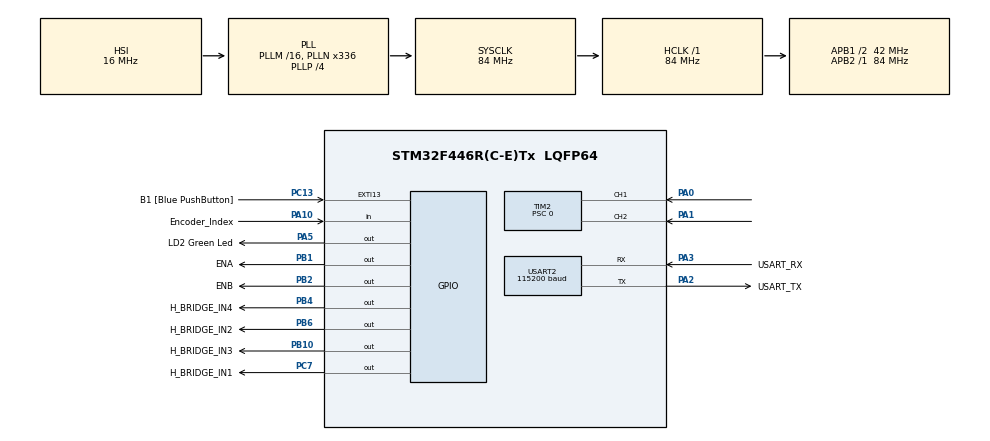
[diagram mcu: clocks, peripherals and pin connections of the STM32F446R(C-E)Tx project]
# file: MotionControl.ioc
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Mcu.Family=STM32F4
Mcu.Name=STM32F446R(C-E)Tx
Mcu.Package=LQFP64
NVIC.EXTI15_10_IRQn=true\:0\:0\:false\:true\:true\:5\:false\:true\:true\:true
NVIC.PriorityGroup=NVIC_PRIORITYGROUP_4
NVIC.TIM1_TRG_COM_TIM11_IRQn=true\:0\:0\:false\:true\:true\:4\:false\:true\:true\:true
NVIC.TIM1_UP_TIM10_IRQn=true\:0\:0\:false\:true\:true\:3\:false\:true\:true\:true
NVIC.TIM3_IRQn=true\:0\:0\:false\:false\:true\:false\:true\:true\:true
NVIC.TIM6_DAC_IRQn=true\:15\:0\:false\:false\:true\:false\:false\:true\:true
NVIC.TIM7_IRQn=true\:0\:0\:false\:true\:true\:6\:false\:true\:true\:true
NVIC.TimeBase=TIM6_DAC_IRQn
NVIC.TimeBaseIP=TIM6
PA0-WKUP.Signal=S_TIM2_CH1_ETR
PA1.Signal=S_TIM2_CH2
PA10.GPIO_Label=Encoder_Index
PA10.Signal=GPIO_Input
PA13.GPIO_Label=TMS
PA13.Mode=Serial_Wire
PA13.Signal=SYS_JTMS-SWDIO
PA14.GPIO_Label=TCK
PA14.Mode=Serial_Wire
PA14.Signal=SYS_JTCK-SWCLK
PA2.GPIO_Label=USART_TX
PA2.Mode=Asynchronous
PA2.Signal=USART2_TX
PA3.GPIO_Label=USART_RX
PA3.Mode=Asynchronous
PA3.Signal=USART2_RX
PA5.GPIO_Label=LD2 Green Led
PA5.Signal=GPIO_Output
PB1.GPIO_Label=ENA
PB1.GPIO_PuPd=GPIO_NOPULL
PB1.Signal=GPIO_Output
PB10.GPIO_Label=H_BRIDGE_IN3
PB10.Signal=GPIO_Output
PB2.GPIO_Label=ENB
PB2.Signal=GPIO_Output
PB3.GPIO_Label=SWO
PB3.Signal=SYS_JTDO-SWO
PB4.GPIO_Label=H_BRIDGE_IN4
PB4.Signal=GPIO_Output
PB6.GPIO_Label=H_BRIDGE_IN2
PB6.Signal=GPIO_Output
PC13.GPIO_Label=B1 [Blue PushButton]
PC13.GPIO_ModeDefaultEXTI=GPIO_MODE_IT_FALLING
PC13.Signal=GPXTI13
PC14-OSC32_IN.Mode=LSE-External-Oscillator
PC14-OSC32_IN.Signal=RCC_OSC32_IN
PC15-OSC32_OUT.Mode=LSE-External-Oscillator
PC15-OSC32_OUT.Signal=RCC_OSC32_OUT
PC7.GPIO_Label=H_BRIDGE_IN1
PC7.Signal=GPIO_Output
PH0-OSC_IN.Mode=HSE-External-Oscillator
PH0-OSC_IN.Signal=RCC_OSC_IN
PH1-OSC_OUT.Mode=HSE-External-Oscillator
PH1-OSC_OUT.Signal=RCC_OSC_OUT
ProjectManager.HeapSize=0x200
ProjectManager.StackSize=0x400
ProjectManager.TargetToolchain=STM32CubeIDE
RCC.48MHZClocksFreq_Value=84000000
RCC.AHBFreq_Value=84000000
RCC.APB1CLKDivider=RCC_HCLK_DIV2
RCC.APB1Freq_Value=42000000
RCC.APB1TimFreq_Value=84000000
RCC.APB2Freq_Value=84000000
RCC.APB2TimFreq_Value=84000000
RCC.CortexFreq_Value=84000000
RCC.FLatency-AdvancedSettings=FLASH_LATENCY_2
RCC.HCLKFreq_Value=84000000
RCC.HSE_VALUE=8000000
RCC.HSI_VALUE=16000000
RCC.PLLN=336
RCC.PLLP=RCC_PLLP_DIV4
RCC.SYSCLKFreq_VALUE=84000000
RCC.SYSCLKSource=RCC_SYSCLKSOURCE_PLLCLK
RCC.USBFreq_Value=168000000
RCC.VCOOutputFreq_Value=336000000
SH.S_TIM2_CH1_ETR.0=TIM2_CH1,Encoder_Interface
SH.S_TIM2_CH2.0=TIM2_CH2,Encoder_Interface
STMicroelectronics.X-CUBE-AZRTOS-F4.1.1.0.AZRTOS_APP_MEM_ALLOCATION_METHOD=1
STMicroelectronics.X-CUBE-AZRTOS-F4.1.1.0.TX_ENABLE_EVENT_TRACE=1
STMicroelectronics.X-CUBE-AZRTOS-F4.1.1.0.TX_TIMER_TICKS_PER_SECOND=60000
STMicroelectronics.X-CUBE-AZRTOS-F4.1.1.0.ThreadXCcRTOSJjThreadXJjCore=true
STMicroelectronics.X-CUBE-AZRTOS-F4.1.1.0.ThreadXCcRTOSJjThreadXJjTraceXOosupport=true
STMicroelectronics.X-CUBE-AZRTOS-F4.1.1.0_IsAnAzureRtosMw=true
TIM10.AutoReloadPreload=TIM_AUTORELOAD_PRELOAD_ENABLE
TIM10.Period=839
TIM10.Prescaler=500
TIM11.AutoReloadPreload=TIM_AUTORELOAD_PRELOAD_ENABLE
TIM11.ClockDivision=TIM_CLOCKDIVISION_DIV1
TIM11.Period=83
TIM11.Prescaler=1000
TIM2.AutoReloadPreload=TIM_AUTORELOAD_PRELOAD_ENABLE
TIM2.EncoderMode=TIM_ENCODERMODE_TI12
TIM2.IC1Filter=0
TIM2.IC2Filter=0
TIM2.Period=8191
TIM2.Prescaler=0
TIM3.AutoReloadPreload=TIM_AUTORELOAD_PRELOAD_ENABLE
TIM3.Period=1
TIM3.Prescaler=209
TIM7.AutoReloadPreload=TIM_AUTORELOAD_PRELOAD_ENABLE
TIM7.Period=2099
TIM7.Prescaler=1
TIM7.TIM_MasterOutputTrigger=TIM_TRGO_RESET
USART2.BaudRate=115200
USART2.VirtualMode=VM_ASYNC
VP_STMicroelectronics.X-CUBE-AZRTOS-F4_VS_RTOSJjThreadX_6.1.10_1.1.0.Mode=RTOSJjThreadX
VP_SYS_VS_tim6.Mode=TIM6
VP_TIM10_VS_ClockSourceINT.Mode=Enable_Timer
VP_TIM11_VS_ClockSourceINT.Mode=Enable_Timer
VP_TIM3_VS_ClockSourceINT.Mode=Internal
VP_TIM7_VS_ClockSourceINT.Mode=Enable_Timer
board=NUCLEO-F446RE

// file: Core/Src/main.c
/* USER CODE BEGIN Header */
/**
  ******************************************************************************
  * @file           : main.c
  * @brief          : Main program body
  ******************************************************************************
  * @attention
  *
  * Copyright (c) 2023 STMicroelectronics.
  * All rights reserved.
  *
  * This software is licensed under terms that can be found in the LICENSE file
  * in the root directory of this software component.
  * If no LICENSE file comes with this software, it is provided AS-IS.
  *
  ******************************************************************************
  */
/* USER CODE END Header */
#include "app_threadx.h"
#include "main.h"

/* USER CODE BEGIN Includes */
#include <stdbool.h>
/* USER CODE END Includes */

TIM_HandleTypeDef htim2;
TIM_HandleTypeDef htim3;
TIM_HandleTypeDef htim7;
TIM_HandleTypeDef htim10;
TIM_HandleTypeDef htim11;

UART_HandleTypeDef huart2;

/* USER CODE BEGIN PV */
uint8_t HEADER1[35] = {'\0'};
uint8_t HEADER4[16] = {'\0'};
bool TickMotion = false;
bool TickSerial = false;
bool TickDiag = false;
uint32_t CounterDiagSerialOld = 0;
uint32_t CounterSpeed = 0;
uint32_t TM2_Currentvalue;

/* USER CODE END PV */

void SystemClock_Config(void);
static void MX_GPIO_Init(void);
static void MX_USART2_UART_Init(void);
static void MX_TIM7_Init(void);
static void MX_TIM10_Init(void);
static void MX_TIM11_Init(void);
static void MX_TIM2_Init(void);
static void MX_TIM3_Init(void);
static void MX_NVIC_Init(void);

int main(void)
{

  /* MCU Configuration--------------------------------------------------------*/

  /* Reset of all peripherals, Initializes the Flash interface and the Systick. */
  HAL_Init();

  /* Configure the system clock */
  SystemClock_Config();

  /* Initialize all configured peripherals */
  MX_GPIO_Init();
  MX_USART2_UART_Init();
  MX_TIM7_Init();
  MX_TIM10_Init();
  MX_TIM11_Init();
  MX_TIM2_Init();
  MX_TIM3_Init();

  /* Initialize interrupts */
  MX_NVIC_Init();
  /* USER CODE BEGIN 2 */
  sprintf(HEADER1, "Initialized Serial Comunication \n");
  HAL_UART_Transmit(&huart2, HEADER1, sizeof(HEADER1), 100);
  /* USER CODE END 2 */

  MX_ThreadX_Init();

  /* We should never get here as control is now taken by the scheduler */
  /* Infinite loop */
  while (1)
  {

  }
}

void SystemClock_Config(void)
{
  RCC_OscInitTypeDef RCC_OscInitStruct = {0};
  RCC_ClkInitTypeDef RCC_ClkInitStruct = {0};

  /** Configure the main internal regulator output voltage
  */
  __HAL_RCC_PWR_CLK_ENABLE();
  __HAL_PWR_VOLTAGESCALING_CONFIG(PWR_REGULATOR_VOLTAGE_SCALE3);

  /** Initializes the RCC Oscillators according to the specified parameters
  * in the RCC_OscInitTypeDef structure.
  */
  RCC_OscInitStruct.OscillatorType = RCC_OSCILLATORTYPE_HSI;
  RCC_OscInitStruct.HSIState = RCC_HSI_ON;
  RCC_OscInitStruct.HSICalibrationValue = RCC_HSICALIBRATION_DEFAULT;
  RCC_OscInitStruct.PLL.PLLState = RCC_PLL_ON;
  RCC_OscInitStruct.PLL.PLLSource = RCC_PLLSOURCE_HSI;
  RCC_OscInitStruct.PLL.PLLM = 16;
  RCC_OscInitStruct.PLL.PLLN = 336;
  RCC_OscInitStruct.PLL.PLLP = RCC_PLLP_DIV4;
  RCC_OscInitStruct.PLL.PLLQ = 2;
  RCC_OscInitStruct.PLL.PLLR = 2;
  if (HAL_RCC_OscConfig(&RCC_OscInitStruct) != HAL_OK)
  {
    Error_Handler();
  }

  /** Initializes the CPU, AHB and APB buses clocks
  */
  RCC_ClkInitStruct.ClockType = RCC_CLOCKTYPE_HCLK|RCC_CLOCKTYPE_SYSCLK
                              |RCC_CLOCKTYPE_PCLK1|RCC_CLOCKTYPE_PCLK2;
  RCC_ClkInitStruct.SYSCLKSource = RCC_SYSCLKSOURCE_PLLCLK;
  RCC_ClkInitStruct.AHBCLKDivider = RCC_SYSCLK_DIV1;
  RCC_ClkInitStruct.APB1CLKDivider = RCC_HCLK_DIV2;
  RCC_ClkInitStruct.APB2CLKDivider = RCC_HCLK_DIV1;

  if (HAL_RCC_ClockConfig(&RCC_ClkInitStruct, FLASH_LATENCY_2) != HAL_OK)
  {
    Error_Handler();
  }
}

/**
  * @brief NVIC Configuration.
  * @retval None
  */
static void MX_NVIC_Init(void)
{
  /* TIM1_UP_TIM10_IRQn interrupt configuration */
  HAL_NVIC_SetPriority(TIM1_UP_TIM10_IRQn, 0, 0);
  HAL_NVIC_EnableIRQ(TIM1_UP_TIM10_IRQn);
  /* TIM1_TRG_COM_TIM11_IRQn interrupt configuration */
  HAL_NVIC_SetPriority(TIM1_TRG_COM_TIM11_IRQn, 0, 0);
  HAL_NVIC_EnableIRQ(TIM1_TRG_COM_TIM11_IRQn);
  /* EXTI15_10_IRQn interrupt configuration */
  HAL_NVIC_SetPriority(EXTI15_10_IRQn, 0, 0);
  HAL_NVIC_EnableIRQ(EXTI15_10_IRQn);
  /* TIM7_IRQn interrupt configuration */
  HAL_NVIC_SetPriority(TIM7_IRQn, 0, 0);
  HAL_NVIC_EnableIRQ(TIM7_IRQn);
}

static void MX_TIM2_Init(void)
{

  TIM_Encoder_InitTypeDef sConfig = {0};
  TIM_MasterConfigTypeDef sMasterConfig = {0};

  htim2.Instance = TIM2;
  htim2.Init.Prescaler = 0;
  htim2.Init.CounterMode = TIM_COUNTERMODE_UP;
  htim2.Init.Period = 8191;
  htim2.Init.ClockDivision = TIM_CLOCKDIVISION_DIV1;
  htim2.Init.AutoReloadPreload = TIM_AUTORELOAD_PRELOAD_ENABLE;
  sConfig.EncoderMode = TIM_ENCODERMODE_TI12;
  sConfig.IC1Polarity = TIM_ICPOLARITY_RISING;
  sConfig.IC1Selection = TIM_ICSELECTION_DIRECTTI;
  sConfig.IC1Prescaler = TIM_ICPSC_DIV1;
  sConfig.IC1Filter = 0;
  sConfig.IC2Polarity = TIM_ICPOLARITY_RISING;
  sConfig.IC2Selection = TIM_ICSELECTION_DIRECTTI;
  sConfig.IC2Prescaler = TIM_ICPSC_DIV1;
  sConfig.IC2Filter = 0;
  if (HAL_TIM_Encoder_Init(&htim2, &sConfig) != HAL_OK)
  {
    Error_Handler();
  }
  sMasterConfig.MasterOutputTrigger = TIM_TRGO_RESET;
  sMasterConfig.MasterSlaveMode = TIM_MASTERSLAVEMODE_DISABLE;
  if (HAL_TIMEx_MasterConfigSynchronization(&htim2, &sMasterConfig) != HAL_OK)
  {
    Error_Handler();
  }
  /* USER CODE BEGIN TIM2_Init 2 */
  HAL_TIM_Encoder_Start(&htim2, TIM_CHANNEL_ALL);
  /* USER CODE END TIM2_Init 2 */

}

static void MX_TIM3_Init(void)
{

  TIM_ClockConfigTypeDef sClockSourceConfig = {0};
  TIM_MasterConfigTypeDef sMasterConfig = {0};

  htim3.Instance = TIM3;
  htim3.Init.Prescaler = 209;
  htim3.Init.CounterMode = TIM_COUNTERMODE_UP;
  htim3.Init.Period = 1;
  htim3.Init.ClockDivision = TIM_CLOCKDIVISION_DIV1;
  htim3.Init.AutoReloadPreload = TIM_AUTORELOAD_PRELOAD_ENABLE;
  if (HAL_TIM_Base_Init(&htim3) != HAL_OK)
  {
    Error_Handler();
  }
  sClockSourceConfig.ClockSource = TIM_CLOCKSOURCE_INTERNAL;
  if (HAL_TIM_ConfigClockSource(&htim3, &sClockSourceConfig) != HAL_OK)
  {
    Error_Handler();
  }
  sMasterConfig.MasterOutputTrigger = TIM_TRGO_RESET;
  sMasterConfig.MasterSlaveMode = TIM_MASTERSLAVEMODE_DISABLE;
  if (HAL_TIMEx_MasterConfigSynchronization(&htim3, &sMasterConfig) != HAL_OK)
  {
    Error_Handler();
  }
  /* USER CODE BEGIN TIM3_Init 2 */
  HAL_TIM_Base_Start_IT(&htim3); // Start Timer
  /* USER CODE END TIM3_Init 2 */

}

static void MX_TIM7_Init(void)
{

  TIM_MasterConfigTypeDef sMasterConfig = {0};

  htim7.Instance = TIM7;
  htim7.Init.Prescaler = 1;
  htim7.Init.CounterMode = TIM_COUNTERMODE_UP;
  htim7.Init.Period = 2099;
  htim7.Init.AutoReloadPreload = TIM_AUTORELOAD_PRELOAD_ENABLE;
  if (HAL_TIM_Base_Init(&htim7) != HAL_OK)
  {
    Error_Handler();
  }
  sMasterConfig.MasterOutputTrigger = TIM_TRGO_RESET;
  sMasterConfig.MasterSlaveMode = TIM_MASTERSLAVEMODE_DISABLE;
  if (HAL_TIMEx_MasterConfigSynchronization(&htim7, &sMasterConfig) != HAL_OK)
  {
    Error_Handler();
  }
  /* USER CODE BEGIN TIM7_Init 2 */
  HAL_TIM_Base_Start_IT(&htim7); // Start Timer
  /* USER CODE END TIM7_Init 2 */

}

static void MX_TIM10_Init(void)
{

  htim10.Instance = TIM10;
  htim10.Init.Prescaler = 500;
  htim10.Init.CounterMode = TIM_COUNTERMODE_UP;
  htim10.Init.Period = 839;
  htim10.Init.ClockDivision = TIM_CLOCKDIVISION_DIV1;
  htim10.Init.AutoReloadPreload = TIM_AUTORELOAD_PRELOAD_ENABLE;
  if (HAL_TIM_Base_Init(&htim10) != HAL_OK)
  {
    Error_Handler();
  }
  /* USER CODE BEGIN TIM10_Init 2 */
  HAL_TIM_Base_Start_IT(&htim10); // Start Timer
  /* USER CODE END TIM10_Init 2 */

}

static void MX_TIM11_Init(void)
{

  htim11.Instance = TIM11;
  htim11.Init.Prescaler = 1000;
  htim11.Init.CounterMode = TIM_COUNTERMODE_UP;
  htim11.Init.Period = 83;
  htim11.Init.ClockDivision = TIM_CLOCKDIVISION_DIV1;
  htim11.Init.AutoReloadPreload = TIM_AUTORELOAD_PRELOAD_ENABLE;
  if (HAL_TIM_Base_Init(&htim11) != HAL_OK)
  {
    Error_Handler();
  }
  /* USER CODE BEGIN TIM11_Init 2 */
  HAL_TIM_Base_Start_IT(&htim11); // Start Timer
  /* USER CODE END TIM11_Init 2 */

}

static void MX_USART2_UART_Init(void)
{

  huart2.Instance = USART2;
  huart2.Init.BaudRate = 115200;
  huart2.Init.WordLength = UART_WORDLENGTH_8B;
  huart2.Init.StopBits = UART_STOPBITS_1;
  huart2.Init.Parity = UART_PARITY_NONE;
  huart2.Init.Mode = UART_MODE_TX_RX;
  huart2.Init.HwFlowCtl = UART_HWCONTROL_NONE;
  huart2.Init.OverSampling = UART_OVERSAMPLING_16;
  if (HAL_UART_Init(&huart2) != HAL_OK)
  {
    Error_Handler();
  }

}

static void MX_GPIO_Init(void)
{
  GPIO_InitTypeDef GPIO_InitStruct = {0};

  /* GPIO Ports Clock Enable */
  __HAL_RCC_GPIOC_CLK_ENABLE();
  __HAL_RCC_GPIOH_CLK_ENABLE();
  __HAL_RCC_GPIOA_CLK_ENABLE();
  __HAL_RCC_GPIOB_CLK_ENABLE();

  /*Configure GPIO pin Output Level */
  HAL_GPIO_WritePin(LD2_Green_Led_GPIO_Port, LD2_Green_Led_Pin, GPIO_PIN_RESET);

  /*Configure GPIO pin Output Level */
  HAL_GPIO_WritePin(GPIOB, ENA_Pin|ENB_Pin|H_BRIDGE_IN3_Pin|H_BRIDGE_IN4_Pin
                          |H_BRIDGE_IN2_Pin, GPIO_PIN_RESET);

  /*Configure GPIO pin Output Level */
  HAL_GPIO_WritePin(H_BRIDGE_IN1_GPIO_Port, H_BRIDGE_IN1_Pin, GPIO_PIN_RESET);

  /*Configure GPIO pin : B1_Pin */
  GPIO_InitStruct.Pin = B1_Pin;
  GPIO_InitStruct.Mode = GPIO_MODE_IT_FALLING;
  GPIO_InitStruct.Pull = GPIO_NOPULL;
  HAL_GPIO_Init(B1_GPIO_Port, &GPIO_InitStruct);

  /*Configure GPIO pin : LD2_Green_Led_Pin */
  GPIO_InitStruct.Pin = LD2_Green_Led_Pin;
  GPIO_InitStruct.Mode = GPIO_MODE_OUTPUT_PP;
  GPIO_InitStruct.Pull = GPIO_NOPULL;
  GPIO_InitStruct.Speed = GPIO_SPEED_FREQ_LOW;
  HAL_GPIO_Init(LD2_Green_Led_GPIO_Port, &GPIO_InitStruct);

  /*Configure GPIO pins : ENA_Pin ENB_Pin H_BRIDGE_IN3_Pin H_BRIDGE_IN4_Pin
                           H_BRIDGE_IN2_Pin */
  GPIO_InitStruct.Pin = ENA_Pin|ENB_Pin|H_BRIDGE_IN3_Pin|H_BRIDGE_IN4_Pin
                          |H_BRIDGE_IN2_Pin;
  GPIO_InitStruct.Mode = GPIO_MODE_OUTPUT_PP;
  GPIO_InitStruct.Pull = GPIO_NOPULL;
  GPIO_InitStruct.Speed = GPIO_SPEED_FREQ_LOW;
  HAL_GPIO_Init(GPIOB, &GPIO_InitStruct);

  /*Configure GPIO pin : H_BRIDGE_IN1_Pin */
  GPIO_InitStruct.Pin = H_BRIDGE_IN1_Pin;
  GPIO_InitStruct.Mode = GPIO_MODE_OUTPUT_PP;
  GPIO_InitStruct.Pull = GPIO_NOPULL;
  GPIO_InitStruct.Speed = GPIO_SPEED_FREQ_LOW;
  HAL_GPIO_Init(H_BRIDGE_IN1_GPIO_Port, &GPIO_InitStruct);

  /*Configure GPIO pin : Encoder_Index_Pin */
  GPIO_InitStruct.Pin = Encoder_Index_Pin;
  GPIO_InitStruct.Mode = GPIO_MODE_INPUT;
  GPIO_InitStruct.Pull = GPIO_NOPULL;
  HAL_GPIO_Init(Encoder_Index_GPIO_Port, &GPIO_InitStruct);

}

void HAL_TIM_PeriodElapsedCallback(TIM_HandleTypeDef *htim)
{
  if (htim->Instance == TIM6) {
    HAL_IncTick();
  }
}

void Error_Handler(void)
{
  /* USER CODE BEGIN Error_Handler_Debug */
  /* User can add his own implementation to report the HAL error return state */
  __disable_irq();
  while (1)
  {
	  sprintf(HEADER4, "Inside TradeMASTER");
	  HAL_UART_Transmit(&huart2, HEADER4, sizeof(HEADER4), 100);
  }
  /* USER CODE END Error_Handler_Debug */
}
